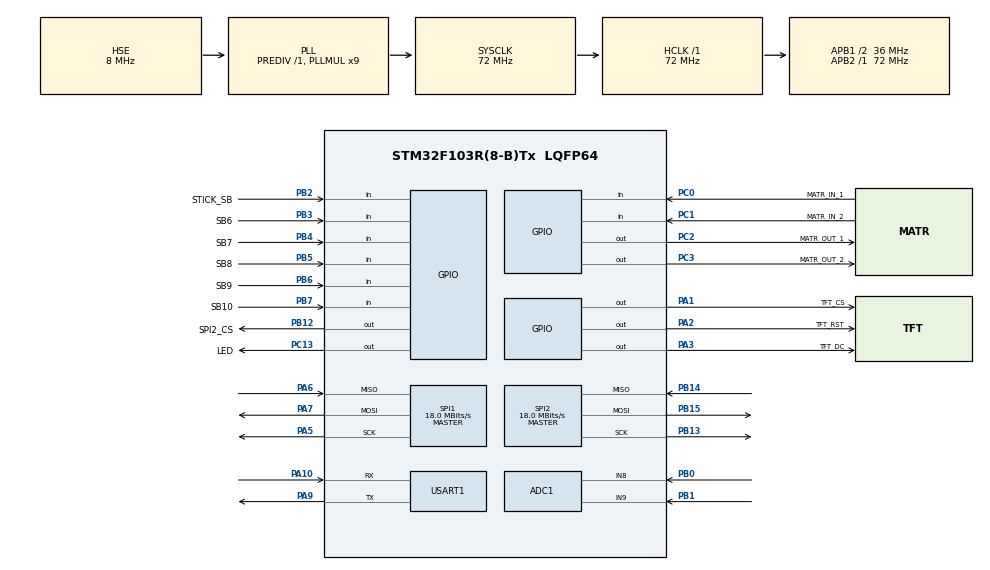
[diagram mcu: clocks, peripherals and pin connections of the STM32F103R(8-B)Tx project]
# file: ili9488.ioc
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ADC1.Channel-3\#ChannelRegularConversion=ADC_CHANNEL_8
ADC1.Channel-4\#ChannelRegularConversion=ADC_CHANNEL_9
ADC1.ContinuousConvMode=DISABLE
ADC1.DiscontinuousConvMode=DISABLE
ADC1.NbrOfConversion=2
ADC1.NbrOfConversionFlag=1
ADC1.Rank-3\#ChannelRegularConversion=1
ADC1.Rank-4\#ChannelRegularConversion=2
ADC1.SamplingTime-3\#ChannelRegularConversion=ADC_SAMPLETIME_7CYCLES_5
ADC1.SamplingTime-4\#ChannelRegularConversion=ADC_SAMPLETIME_7CYCLES_5
ADC1.master=1
Dma.ADC1.1.Direction=DMA_PERIPH_TO_MEMORY
Dma.ADC1.1.Instance=DMA1_Channel1
Dma.ADC1.1.MemDataAlignment=DMA_MDATAALIGN_HALFWORD
Dma.ADC1.1.MemInc=DMA_MINC_ENABLE
Dma.ADC1.1.Mode=DMA_NORMAL
Dma.ADC1.1.PeriphDataAlignment=DMA_PDATAALIGN_HALFWORD
Dma.ADC1.1.PeriphInc=DMA_PINC_DISABLE
Dma.ADC1.1.Priority=DMA_PRIORITY_LOW
Dma.Request0=SPI1_TX
Dma.Request1=ADC1
Dma.SPI1_TX.0.Direction=DMA_MEMORY_TO_PERIPH
Dma.SPI1_TX.0.Instance=DMA1_Channel3
Dma.SPI1_TX.0.MemDataAlignment=DMA_MDATAALIGN_BYTE
Dma.SPI1_TX.0.MemInc=DMA_MINC_ENABLE
Dma.SPI1_TX.0.Mode=DMA_NORMAL
Dma.SPI1_TX.0.PeriphDataAlignment=DMA_PDATAALIGN_BYTE
Dma.SPI1_TX.0.PeriphInc=DMA_PINC_DISABLE
Dma.SPI1_TX.0.Priority=DMA_PRIORITY_VERY_HIGH
FATFS._MAX_SS=4096
FATFS._USE_LFN=1
Mcu.Family=STM32F1
Mcu.Name=STM32F103R(8-B)Tx
Mcu.Package=LQFP64
NVIC.ADC1_2_IRQn=true\:0\:0\:false\:false\:true\:true\:true\:true
NVIC.DMA1_Channel1_IRQn=true\:0\:0\:false\:false\:true\:false\:true\:true
NVIC.DMA1_Channel3_IRQn=true\:0\:0\:false\:false\:true\:false\:true\:true
NVIC.PriorityGroup=NVIC_PRIORITYGROUP_4
PA1.GPIO_Label=TFT_CS
PA1.GPIO_Speed=GPIO_SPEED_FREQ_HIGH
PA1.PinState=GPIO_PIN_RESET
PA1.Signal=GPIO_Output
PA10.Mode=Asynchronous
PA10.Signal=USART1_RX
PA13.Mode=Serial_Wire
PA13.Signal=SYS_JTMS-SWDIO
PA14.Mode=Serial_Wire
PA14.Signal=SYS_JTCK-SWCLK
PA2.GPIO_Label=TFT_RST
PA2.GPIO_Speed=GPIO_SPEED_FREQ_HIGH
PA2.Signal=GPIO_Output
PA3.GPIO_Label=TFT_DC
PA3.GPIO_Speed=GPIO_SPEED_FREQ_HIGH
PA3.Signal=GPIO_Output
PA5.Mode=Full_Duplex_Master
PA5.Signal=SPI1_SCK
PA6.Mode=Full_Duplex_Master
PA6.Signal=SPI1_MISO
PA7.Mode=Full_Duplex_Master
PA7.Signal=SPI1_MOSI
PA9.Mode=Asynchronous
PA9.Signal=USART1_TX
PB0.Signal=ADCx_IN8
PB1.Signal=ADCx_IN9
PB12.GPIO_Label=SPI2_CS
PB12.GPIO_Speed=GPIO_SPEED_FREQ_HIGH
PB12.Signal=GPIO_Output
PB13.Mode=Full_Duplex_Master
PB13.Signal=SPI2_SCK
PB14.Mode=Full_Duplex_Master
PB14.Signal=SPI2_MISO
PB15.Mode=Full_Duplex_Master
PB15.Signal=SPI2_MOSI
PB2.GPIO_Label=STICK_SB
PB2.Signal=GPIO_Input
PB3.GPIO_Label=SB6
PB3.Signal=GPIO_Input
PB4.GPIO_Label=SB7
PB4.Signal=GPIO_Input
PB5.GPIO_Label=SB8
PB5.Signal=GPIO_Input
PB6.GPIO_Label=SB9
PB6.Signal=GPIO_Input
PB7.GPIO_Label=SB10
PB7.Signal=GPIO_Input
PC0.GPIO_Label=MATR_IN_1
PC0.Signal=GPIO_Input
PC1.GPIO_Label=MATR_IN_2
PC1.Signal=GPIO_Input
PC13-TAMPER-RTC.GPIO_Label=LED
PC13-TAMPER-RTC.GPIO_Speed=GPIO_SPEED_FREQ_HIGH
PC13-TAMPER-RTC.Signal=GPIO_Output
PC2.GPIO_Label=MATR_OUT_1
PC2.GPIO_Speed=GPIO_SPEED_FREQ_HIGH
PC2.Signal=GPIO_Output
PC3.GPIO_Label=MATR_OUT_2
PC3.GPIO_Speed=GPIO_SPEED_FREQ_HIGH
PC3.Signal=GPIO_Output
PD0-OSC_IN.Mode=HSE-External-Oscillator
PD0-OSC_IN.Signal=RCC_OSC_IN
PD1-OSC_OUT.Mode=HSE-External-Oscillator
PD1-OSC_OUT.Signal=RCC_OSC_OUT
ProjectManager.HeapSize=0x200
ProjectManager.StackSize=0x400
ProjectManager.TargetToolchain=STM32CubeIDE
RCC.ADCPresc=RCC_ADCPCLK2_DIV6
RCC.AHBFreq_Value=72000000
RCC.APB1CLKDivider=RCC_HCLK_DIV2
RCC.APB1Freq_Value=36000000
RCC.APB1TimFreq_Value=72000000
RCC.APB2Freq_Value=72000000
RCC.APB2TimFreq_Value=72000000
RCC.HCLKFreq_Value=72000000
RCC.PLLMUL=RCC_PLL_MUL9
RCC.PLLSourceVirtual=RCC_PLLSOURCE_HSE
RCC.SYSCLKFreq_VALUE=72000000
RCC.SYSCLKSource=RCC_SYSCLKSOURCE_PLLCLK
RCC.USBFreq_Value=72000000
SH.ADCx_IN8.0=ADC1_IN8,IN8
SH.ADCx_IN9.0=ADC1_IN9,IN9
SPI1.BaudRatePrescaler=SPI_BAUDRATEPRESCALER_4
SPI1.CalculateBaudRate=18.0 MBits/s
SPI1.Direction=SPI_DIRECTION_2LINES
SPI1.Mode=SPI_MODE_MASTER
SPI1.VirtualType=VM_MASTER
SPI2.BaudRatePrescaler=SPI_BAUDRATEPRESCALER_2
SPI2.CalculateBaudRate=18.0 MBits/s
SPI2.Direction=SPI_DIRECTION_2LINES
SPI2.Mode=SPI_MODE_MASTER
SPI2.VirtualType=VM_MASTER
TIM2.Period=10
TIM2.Prescaler=3999
USART1.VirtualMode=VM_ASYNC
VP_FATFS_VS_Generic.Mode=User_defined
VP_TIM2_VS_ClockSourceINT.Mode=Internal
board=custom

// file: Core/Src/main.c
/* USER CODE BEGIN Header */
/**
  ******************************************************************************
  * @file           : main.c
  * @brief          : Main program body
  ******************************************************************************
  * @attention
  *
  * Copyright (c) 2024 STMicroelectronics.
  * All rights reserved.
  *
  * This software is licensed under terms that can be found in the LICENSE file
  * in the root directory of this software component.
  * If no LICENSE file comes with this software, it is provided AS-IS.
  *
  ******************************************************************************
  */
/* USER CODE END Header */
#include "main.h"
#include "fatfs.h"

/* USER CODE BEGIN Includes */
#include "ili9488.h"
#include "stdio.h"
#include "math.h"
#include "img.h"
#include "Bahamas18.h"//для меню
#include "FreeMono18.h" //текст
#include "FreeSans18.h"//текст
#include "128_Open_Sans_Bold.h"//для английского

volatile uint8_t SPI1_TX_completed_flag = 1;
char buf1[20];
/* USER CODE END Includes */

/* USER CODE BEGIN PD */
#define  ADC_CHANNELS_NUM 2
#define  ADC_X_MAX 2
#define  ADC_X_MIN 1
#define  ADC_Y_MAX 2
#define  ADC_Y_MIN 1

/* USER CODE END PD */

ADC_HandleTypeDef hadc1;
DMA_HandleTypeDef hdma_adc1;

SPI_HandleTypeDef hspi1;
SPI_HandleTypeDef hspi2;
DMA_HandleTypeDef hdma_spi1_tx;

TIM_HandleTypeDef htim2;

UART_HandleTypeDef huart1;

/* USER CODE BEGIN PV */
volatile float  ADC_Data [ADC_CHANNELS_NUM];
volatile uint16_t ADC_Value [ADC_CHANNELS_NUM];
volatile uint8_t ADC_flag = 0;
/* USER CODE END PV */

void SystemClock_Config(void);
static void MX_GPIO_Init(void);
static void MX_DMA_Init(void);
static void MX_SPI1_Init(void);
static void MX_ADC1_Init(void);
static void MX_USART1_UART_Init(void);
static void MX_SPI2_Init(void);
static void MX_TIM2_Init(void);

/* USER CODE BEGIN 0 */
void HAL_SPI_TxCpltCallback(SPI_HandleTypeDef *hspi)
{
	SPI1_TX_completed_flag = 1;
}

uint32_t VR[2];
char main_tem []= "Главное меню";
/* USER CODE END 0 */

int main(void)
{
  /* USER CODE BEGIN 1 */
	char string_display_1[15];
//	uint32_t adc_value = 0;
  /* USER CODE END 1 */

  /* MCU Configuration--------------------------------------------------------*/

  /* Reset of all peripherals, Initializes the Flash interface and the Systick. */
  HAL_Init();

  /* Configure the system clock */
  SystemClock_Config();

  /* Initialize all configured peripherals */
  MX_GPIO_Init();
  MX_DMA_Init();
  MX_SPI1_Init();
  MX_ADC1_Init();
  MX_USART1_UART_Init();
  MX_SPI2_Init();
  MX_TIM2_Init();
  MX_FATFS_Init();
  /* USER CODE BEGIN 2 */
  ILI9488_Init();
  HAL_ADCEx_Calibration_Start(&hadc1);
  HAL_ADC_Start_DMA(&hadc1, (uint32_t*)ADC_Value, ADC_CHANNELS_NUM);
  HAL_Delay(1000); //Задержка для инициализации АЦП

//  HAL_Delay(1000);
   setRotation(3);
   ILI9341_Fill_Screen(ILI9488_RED);

  /* USER CODE END 2 */

  /* Infinite loop */
  /* USER CODE BEGIN WHILE */
//    drawImage(img_logo_Reny, 140, 80, 200, 200);
  while (1)
  {
    /* USER CODE END WHILE */

    /* USER CODE BEGIN 3 */
	if (ADC_flag == 1) {
		HAL_ADC_Stop_DMA(&hadc1);
		ADC_Data[0] = (float)ADC_Value[0]*3/4095;
		ADC_Data[1] = (float)ADC_Value[1]*3/4095;
		sprintf(string_display_1,"%.3f", ADC_Data[0]);
		LCD_Font(200, 60, string_display_1, &Bahamas18pt8b, 1, BLACK);
		sprintf(string_display_1,"%.3f", ADC_Data[1]);
		LCD_Font(200, 160, string_display_1, &Bahamas18pt8b, 1, BLACK);
		HAL_Delay(1000);
		HAL_ADC_Start_DMA(&hadc1, (uint32_t*)ADC_Value, ADC_CHANNELS_NUM);

	}
		GraphicsClear(RED);
		HAL_Delay(10);

		LCD_Font(200, 260, "asdfghjkl;'123", &Bahamas18pt8b, 2, BLACK);

//	  if(HAL_GPIO_ReadPin(STICK_SB_GPIO_Port, STICK_SB_Pin) == 0){
//		  HAL_GPIO_TogglePin(LED_GPIO_Port, LED_Pin);
//		  HAL_Delay(2000);
//	  }

  }
  /* USER CODE END 3 */
}

void SystemClock_Config(void)
{
  RCC_OscInitTypeDef RCC_OscInitStruct = {0};
  RCC_ClkInitTypeDef RCC_ClkInitStruct = {0};
  RCC_PeriphCLKInitTypeDef PeriphClkInit = {0};

  /** Initializes the RCC Oscillators according to the specified parameters
  * in the RCC_OscInitTypeDef structure.
  */
  RCC_OscInitStruct.OscillatorType = RCC_OSCILLATORTYPE_HSE;
  RCC_OscInitStruct.HSEState = RCC_HSE_ON;
  RCC_OscInitStruct.HSEPredivValue = RCC_HSE_PREDIV_DIV1;
  RCC_OscInitStruct.HSIState = RCC_HSI_ON;
  RCC_OscInitStruct.PLL.PLLState = RCC_PLL_ON;
  RCC_OscInitStruct.PLL.PLLSource = RCC_PLLSOURCE_HSE;
  RCC_OscInitStruct.PLL.PLLMUL = RCC_PLL_MUL9;
  if (HAL_RCC_OscConfig(&RCC_OscInitStruct) != HAL_OK)
  {
    Error_Handler();
  }

  /** Initializes the CPU, AHB and APB buses clocks
  */
  RCC_ClkInitStruct.ClockType = RCC_CLOCKTYPE_HCLK|RCC_CLOCKTYPE_SYSCLK
                              |RCC_CLOCKTYPE_PCLK1|RCC_CLOCKTYPE_PCLK2;
  RCC_ClkInitStruct.SYSCLKSource = RCC_SYSCLKSOURCE_PLLCLK;
  RCC_ClkInitStruct.AHBCLKDivider = RCC_SYSCLK_DIV1;
  RCC_ClkInitStruct.APB1CLKDivider = RCC_HCLK_DIV2;
  RCC_ClkInitStruct.APB2CLKDivider = RCC_HCLK_DIV1;

  if (HAL_RCC_ClockConfig(&RCC_ClkInitStruct, FLASH_LATENCY_2) != HAL_OK)
  {
    Error_Handler();
  }
  PeriphClkInit.PeriphClockSelection = RCC_PERIPHCLK_ADC;
  PeriphClkInit.AdcClockSelection = RCC_ADCPCLK2_DIV6;
  if (HAL_RCCEx_PeriphCLKConfig(&PeriphClkInit) != HAL_OK)
  {
    Error_Handler();
  }
}

static void MX_ADC1_Init(void)
{

  ADC_ChannelConfTypeDef sConfig = {0};

  /** Common config
  */
  hadc1.Instance = ADC1;
  hadc1.Init.ScanConvMode = ADC_SCAN_ENABLE;
  hadc1.Init.ContinuousConvMode = DISABLE;
  hadc1.Init.DiscontinuousConvMode = DISABLE;
  hadc1.Init.ExternalTrigConv = ADC_SOFTWARE_START;
  hadc1.Init.DataAlign = ADC_DATAALIGN_RIGHT;
  hadc1.Init.NbrOfConversion = 2;
  if (HAL_ADC_Init(&hadc1) != HAL_OK)
  {
    Error_Handler();
  }

  /** Configure Regular Channel
  */
  sConfig.Channel = ADC_CHANNEL_8;
  sConfig.Rank = ADC_REGULAR_RANK_1;
  sConfig.SamplingTime = ADC_SAMPLETIME_7CYCLES_5;
  if (HAL_ADC_ConfigChannel(&hadc1, &sConfig) != HAL_OK)
  {
    Error_Handler();
  }

  /** Configure Regular Channel
  */
  sConfig.Channel = ADC_CHANNEL_9;
  sConfig.Rank = ADC_REGULAR_RANK_2;
  if (HAL_ADC_ConfigChannel(&hadc1, &sConfig) != HAL_OK)
  {
    Error_Handler();
  }

}

static void MX_SPI1_Init(void)
{

  /* SPI1 parameter configuration*/
  hspi1.Instance = SPI1;
  hspi1.Init.Mode = SPI_MODE_MASTER;
  hspi1.Init.Direction = SPI_DIRECTION_2LINES;
  hspi1.Init.DataSize = SPI_DATASIZE_8BIT;
  hspi1.Init.CLKPolarity = SPI_POLARITY_LOW;
  hspi1.Init.CLKPhase = SPI_PHASE_1EDGE;
  hspi1.Init.NSS = SPI_NSS_SOFT;
  hspi1.Init.BaudRatePrescaler = SPI_BAUDRATEPRESCALER_4;
  hspi1.Init.FirstBit = SPI_FIRSTBIT_MSB;
  hspi1.Init.TIMode = SPI_TIMODE_DISABLE;
  hspi1.Init.CRCCalculation = SPI_CRCCALCULATION_DISABLE;
  hspi1.Init.CRCPolynomial = 10;
  if (HAL_SPI_Init(&hspi1) != HAL_OK)
  {
    Error_Handler();
  }

}

static void MX_SPI2_Init(void)
{

  /* SPI2 parameter configuration*/
  hspi2.Instance = SPI2;
  hspi2.Init.Mode = SPI_MODE_MASTER;
  hspi2.Init.Direction = SPI_DIRECTION_2LINES;
  hspi2.Init.DataSize = SPI_DATASIZE_8BIT;
  hspi2.Init.CLKPolarity = SPI_POLARITY_LOW;
  hspi2.Init.CLKPhase = SPI_PHASE_1EDGE;
  hspi2.Init.NSS = SPI_NSS_SOFT;
  hspi2.Init.BaudRatePrescaler = SPI_BAUDRATEPRESCALER_2;
  hspi2.Init.FirstBit = SPI_FIRSTBIT_MSB;
  hspi2.Init.TIMode = SPI_TIMODE_DISABLE;
  hspi2.Init.CRCCalculation = SPI_CRCCALCULATION_DISABLE;
  hspi2.Init.CRCPolynomial = 10;
  if (HAL_SPI_Init(&hspi2) != HAL_OK)
  {
    Error_Handler();
  }

}

static void MX_TIM2_Init(void)
{

  TIM_ClockConfigTypeDef sClockSourceConfig = {0};
  TIM_MasterConfigTypeDef sMasterConfig = {0};

  htim2.Instance = TIM2;
  htim2.Init.Prescaler = 3999;
  htim2.Init.CounterMode = TIM_COUNTERMODE_UP;
  htim2.Init.Period = 10;
  htim2.Init.ClockDivision = TIM_CLOCKDIVISION_DIV1;
  htim2.Init.AutoReloadPreload = TIM_AUTORELOAD_PRELOAD_DISABLE;
  if (HAL_TIM_Base_Init(&htim2) != HAL_OK)
  {
    Error_Handler();
  }
  sClockSourceConfig.ClockSource = TIM_CLOCKSOURCE_INTERNAL;
  if (HAL_TIM_ConfigClockSource(&htim2, &sClockSourceConfig) != HAL_OK)
  {
    Error_Handler();
  }
  sMasterConfig.MasterOutputTrigger = TIM_TRGO_RESET;
  sMasterConfig.MasterSlaveMode = TIM_MASTERSLAVEMODE_DISABLE;
  if (HAL_TIMEx_MasterConfigSynchronization(&htim2, &sMasterConfig) != HAL_OK)
  {
    Error_Handler();
  }

}

static void MX_USART1_UART_Init(void)
{

  huart1.Instance = USART1;
  huart1.Init.BaudRate = 115200;
  huart1.Init.WordLength = UART_WORDLENGTH_8B;
  huart1.Init.StopBits = UART_STOPBITS_1;
  huart1.Init.Parity = UART_PARITY_NONE;
  huart1.Init.Mode = UART_MODE_TX_RX;
  huart1.Init.HwFlowCtl = UART_HWCONTROL_NONE;
  huart1.Init.OverSampling = UART_OVERSAMPLING_16;
  if (HAL_UART_Init(&huart1) != HAL_OK)
  {
    Error_Handler();
  }

}

static void MX_DMA_Init(void)
{

  /* DMA controller clock enable */
  __HAL_RCC_DMA1_CLK_ENABLE();

  /* DMA interrupt init */
  /* DMA1_Channel1_IRQn interrupt configuration */
  HAL_NVIC_SetPriority(DMA1_Channel1_IRQn, 0, 0);
  HAL_NVIC_EnableIRQ(DMA1_Channel1_IRQn);
  /* DMA1_Channel3_IRQn interrupt configuration */
  HAL_NVIC_SetPriority(DMA1_Channel3_IRQn, 0, 0);
  HAL_NVIC_EnableIRQ(DMA1_Channel3_IRQn);

}

static void MX_GPIO_Init(void)
{
  GPIO_InitTypeDef GPIO_InitStruct = {0};

  /* GPIO Ports Clock Enable */
  __HAL_RCC_GPIOC_CLK_ENABLE();
  __HAL_RCC_GPIOD_CLK_ENABLE();
  __HAL_RCC_GPIOA_CLK_ENABLE();
  __HAL_RCC_GPIOB_CLK_ENABLE();

  /*Configure GPIO pin Output Level */
  HAL_GPIO_WritePin(GPIOC, LED_Pin|MATR_OUT_1_Pin|MATR_OUT_2_Pin, GPIO_PIN_RESET);

  /*Configure GPIO pin Output Level */
  HAL_GPIO_WritePin(GPIOA, TFT_CS_Pin|TFT_RST_Pin|TFT_DC_Pin, GPIO_PIN_RESET);

  /*Configure GPIO pin Output Level */
  HAL_GPIO_WritePin(SPI2_CS_GPIO_Port, SPI2_CS_Pin, GPIO_PIN_RESET);

  /*Configure GPIO pins : LED_Pin MATR_OUT_1_Pin MATR_OUT_2_Pin */
  GPIO_InitStruct.Pin = LED_Pin|MATR_OUT_1_Pin|MATR_OUT_2_Pin;
  GPIO_InitStruct.Mode = GPIO_MODE_OUTPUT_PP;
  GPIO_InitStruct.Pull = GPIO_NOPULL;
  GPIO_InitStruct.Speed = GPIO_SPEED_FREQ_HIGH;
  HAL_GPIO_Init(GPIOC, &GPIO_InitStruct);

  /*Configure GPIO pins : MATR_IN_1_Pin MATR_IN_2_Pin */
  GPIO_InitStruct.Pin = MATR_IN_1_Pin|MATR_IN_2_Pin;
  GPIO_InitStruct.Mode = GPIO_MODE_INPUT;
  GPIO_InitStruct.Pull = GPIO_NOPULL;
  HAL_GPIO_Init(GPIOC, &GPIO_InitStruct);

  /*Configure GPIO pins : TFT_CS_Pin TFT_RST_Pin TFT_DC_Pin */
  GPIO_InitStruct.Pin = TFT_CS_Pin|TFT_RST_Pin|TFT_DC_Pin;
  GPIO_InitStruct.Mode = GPIO_MODE_OUTPUT_PP;
  GPIO_InitStruct.Pull = GPIO_NOPULL;
  GPIO_InitStruct.Speed = GPIO_SPEED_FREQ_HIGH;
  HAL_GPIO_Init(GPIOA, &GPIO_InitStruct);

  /*Configure GPIO pins : STICK_SB_Pin SB6_Pin SB7_Pin SB8_Pin
                           SB9_Pin SB10_Pin */
  GPIO_InitStruct.Pin = STICK_SB_Pin|SB6_Pin|SB7_Pin|SB8_Pin
                          |SB9_Pin|SB10_Pin;
  GPIO_InitStruct.Mode = GPIO_MODE_INPUT;
  GPIO_InitStruct.Pull = GPIO_NOPULL;
  HAL_GPIO_Init(GPIOB, &GPIO_InitStruct);

  /*Configure GPIO pin : SPI2_CS_Pin */
  GPIO_InitStruct.Pin = SPI2_CS_Pin;
  GPIO_InitStruct.Mode = GPIO_MODE_OUTPUT_PP;
  GPIO_InitStruct.Pull = GPIO_NOPULL;
  GPIO_InitStruct.Speed = GPIO_SPEED_FREQ_HIGH;
  HAL_GPIO_Init(SPI2_CS_GPIO_Port, &GPIO_InitStruct);

}

/* USER CODE BEGIN 4 */
void HAL_ADC_ConvCpltCallback(ADC_HandleTypeDef* hadc){

	if(hadc->Instance == ADC1){
		ADC_flag = 1;
	}

}
/* USER CODE END 4 */

void Error_Handler(void)
{
  __disable_irq();
  while (1)
  {
  }
}
